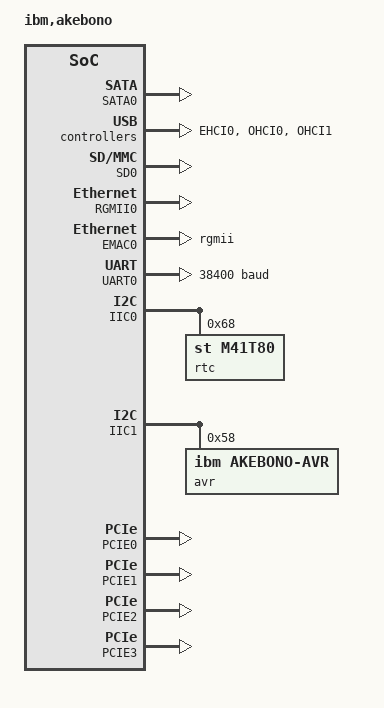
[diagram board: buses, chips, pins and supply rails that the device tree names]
/*
 * Device Tree Source for IBM Embedded PPC 476 Platform
 *
 * Copyright © 2013 Tony Breeds IBM Corporation
 * Copyright © 2013 Alistair Popple IBM Corporation
 *
 * This file is licensed under the terms of the GNU General Public
 * License version 2.  This program is licensed "as is" without
 * any warranty of any kind, whether express or implied.
 */

/dts-v1/;

/memreserve/ 0x01f00000 0x00100000;	// spin table

/ {
	#address-cells = <2>;
	#size-cells = <2>;
	model = "ibm,akebono";
	compatible = "ibm,akebono", "ibm,476gtr";
	dcr-parent = <&{/cpus/cpu@0}>;

	aliases {
		serial0 = &UART0;
	};

	cpus {
		#address-cells = <1>;
		#size-cells = <0>;

		cpu@0 {
			device_type = "cpu";
			model = "PowerPC,476";
			reg = <0>;
			clock-frequency = <1600000000>; // 1.6 GHz
			timebase-frequency = <100000000>; // 100Mhz
			i-cache-line-size = <32>;
			d-cache-line-size = <32>;
			i-cache-size = <32768>;
			d-cache-size = <32768>;
			dcr-controller;
			dcr-access-method = "native";
			status = "okay";
		};
		cpu@1 {
			device_type = "cpu";
			model = "PowerPC,476";
			reg = <1>;
			clock-frequency = <1600000000>; // 1.6 GHz
			timebase-frequency = <100000000>; // 100Mhz
			i-cache-line-size = <32>;
			d-cache-line-size = <32>;
			i-cache-size = <32768>;
			d-cache-size = <32768>;
			dcr-controller;
			dcr-access-method = "native";
			status = "disabled";
			enable-method = "spin-table";
			cpu-release-addr = <0x0 0x01f00000>;
		};
	};

	memory {
		device_type = "memory";
		reg = <0x0 0x0 0x0 0x0>; // filled in by zImage
	};

	MPIC: interrupt-controller {
		compatible = "chrp,open-pic";
		interrupt-controller;
		dcr-reg = <0xffc00000 0x00040000>;
		#address-cells = <0>;
		#size-cells = <0>;
		#interrupt-cells = <2>;
		single-cpu-affinity;
	};

	plb {
		compatible = "ibm,plb6";
		#address-cells = <2>;
		#size-cells = <2>;
		ranges;
		clock-frequency = <200000000>; // 200Mhz

		HSTA0: hsta@310000e0000 {
			compatible = "ibm,476gtr-hsta-msi", "ibm,hsta-msi";
			reg = <0x310 0x000e0000 0x0 0xf0>;
			interrupt-parent = <&MPIC>;
			interrupts = <108 0
				      109 0
				      110 0
				      111 0
				      112 0
				      113 0
				      114 0
				      115 0
				      116 0
				      117 0
				      118 0
				      119 0
				      120 0
				      121 0
				      122 0
				      123 0>;
		};

		MAL0: mcmal {
			compatible = "ibm,mcmal-476gtr", "ibm,mcmal2";
			dcr-reg = <0xc0000000 0x062>;
			num-tx-chans = <1>;
			num-rx-chans = <1>;
			#address-cells = <0>;
			#size-cells = <0>;
			interrupt-parent = <&MPIC>;
			interrupts = <	/*TXEOB*/ 77 0x4
					/*RXEOB*/ 78 0x4
					/*SERR*/  76 0x4
					/*TXDE*/  79 0x4
					/*RXDE*/  80 0x4>;
		};

		SATA0: sata@30000010000 {
			compatible = "ibm,476gtr-ahci";
			reg = <0x300 0x00010000 0x0 0x10000>;
			interrupt-parent = <&MPIC>;
			interrupts = <93 2>;
		};

		EHCI0: ehci@30010000000 {
			compatible = "ibm,476gtr-ehci", "generic-ehci";
			reg = <0x300 0x10000000 0x0 0x10000>;
			interrupt-parent = <&MPIC>;
			interrupts = <85 2>;
		};

		SD0: sd@30000000000 {
			compatible = "ibm,476gtr-sdhci", "generic-sdhci";
			reg = <0x300 0x00000000 0x0 0x10000>;
			interrupts = <91 2>;
			interrupt-parent = <&MPIC>;
		};

		OHCI0: ohci@30010010000 {
			compatible = "ibm,476gtr-ohci", "generic-ohci";
			reg = <0x300 0x10010000 0x0 0x10000>;
			interrupt-parent = <&MPIC>;
			interrupts = <89 1>;
			};

		OHCI1: ohci@30010020000 {
			compatible = "ibm,476gtr-ohci", "generic-ohci";
			reg = <0x300 0x10020000 0x0 0x10000>;
			interrupt-parent = <&MPIC>;
			interrupts = <88 1>;
			};

		POB0: opb {
			compatible = "ibm,opb-4xx", "ibm,opb";
			#address-cells = <1>;
			#size-cells = <1>;
			/* Wish there was a nicer way of specifying a full
			 * 32-bit range
			 */
			ranges = <0x00000000 0x0000033f 0x00000000 0x80000000
				  0x80000000 0x0000033f 0x80000000 0x80000000>;
			clock-frequency = <100000000>;

			RGMII0: emac-rgmii-wol@50004 {
				compatible = "ibm,rgmii-wol-476gtr", "ibm,rgmii-wol";
				reg = <0x50004 0x00000008>;
				has-mdio;
			};

			EMAC0: ethernet@30000 {
				device_type = "network";
				compatible = "ibm,emac-476gtr", "ibm,emac4sync";
				interrupt-parent = <&EMAC0>;
				interrupts = <0x0 0x1>;
				#interrupt-cells = <1>;
				#address-cells = <0>;
				#size-cells = <0>;
				interrupt-map = </*Status*/ 0x0 &MPIC 81 0x4
						 /*Wake*/   0x1 &MPIC 82 0x4>;
				reg = <0x30000 0x78>;

				/* local-mac-address will normally be added by
				 * the wrapper. If your device doesn't support
				 * passing data to the wrapper (in the form
				 * local-mac-addr=<hwaddr>) then you will need
				 * to set it manually here. */
				//local-mac-address = [000000000000];

				mal-device = <&MAL0>;
				mal-tx-channel = <0>;
				mal-rx-channel = <0>;
				cell-index = <0>;
				max-frame-size = <9000>;
				rx-fifo-size = <4096>;
				tx-fifo-size = <2048>;
				rx-fifo-size-gige = <16384>;
				phy-mode = "rgmii";
				phy-map = <0x00000000>;
				rgmii-wol-device = <&RGMII0>;
				has-inverted-stacr-oc;
				has-new-stacr-staopc;
			};

			UART0: serial@10000 {
				device_type = "serial";
				compatible = "ns16750", "ns16550";
				reg = <0x10000 0x00000008>;
				virtual-reg = <0xe8010000>;
				clock-frequency = <1851851>;
				current-speed = <38400>;
				interrupt-parent = <&MPIC>;
				interrupts = <39 2>;
			};

			IIC0: i2c@0 {
				compatible = "ibm,iic-476gtr", "ibm,iic";
				reg = <0x0 0x00000020>;
				interrupt-parent = <&MPIC>;
				interrupts = <37 2>;
				#address-cells = <1>;
				#size-cells = <0>;
				rtc@68 {
					compatible = "st,m41t80", "m41st85";
					reg = <0x68>;
				};
			};

			IIC1: i2c@100 {
				compatible = "ibm,iic-476gtr", "ibm,iic";
				reg = <0x100 0x00000020>;
				interrupt-parent = <&MPIC>;
				interrupts = <38 2>;
				#address-cells = <1>;
				#size-cells = <0>;
				avr@58 {
					compatible = "ibm,akebono-avr";
					reg = <0x58>;
				};
			};

			FPGA0: fpga@ebc00000 {
				compatible = "ibm,akebono-fpga";
				reg = <0xebc00000 0x8>;
			};
		};

		PCIE0: pciex@10100000000 {
			device_type = "pci";
			#interrupt-cells = <1>;
			#size-cells = <2>;
			#address-cells = <3>;
			compatible = "ibm,plb-pciex-476fpe", "ibm,plb-pciex";
			primary;
			port = <0x0>; /* port number */
			reg = <0x00000101 0x00000000 0x0 0x10000000	       /* Config space access */
			       0x00000100 0x00000000 0x0 0x00001000>;	/* UTL Registers space access */
			dcr-reg = <0xc0 0x20>;

//                                pci_space  < pci_addr          > < cpu_addr          > < size       >
			ranges = <0x02000000 0x00000000 0x80000000 0x00000110 0x80000000 0x0 0x80000000
			          0x01000000 0x0        0x0        0x00000140 0x0        0x0 0x00010000>;

			/* Inbound starting at 0x0 to 0x40000000000. In order to use MSI
			 * PCI devices must be able to write to the HSTA module.
			 */
			dma-ranges = <0x42000000 0x0 0x0 0x0 0x0 0x400 0x0>;

			/* This drives busses 0 to 0xf */
			bus-range = <0x0 0xf>;

			/* Legacy interrupts (note the weird polarity, the bridge seems
			 * to invert PCIe legacy interrupts).
			 * We are de-swizzling here because the numbers are actually for
			 * port of the root complex virtual P2P bridge. But I want
			 * to avoid putting a node for it in the tree, so the numbers
			 * below are basically de-swizzled numbers.
			 * The real slot is on idsel 0, so the swizzling is 1:1
			 */
			interrupt-map-mask = <0x0 0x0 0x0 0x7>;
			interrupt-map = <
				0x0 0x0 0x0 0x1 &MPIC 45 0x2 /* int A */
				0x0 0x0 0x0 0x2 &MPIC 46 0x2 /* int B */
				0x0 0x0 0x0 0x3 &MPIC 47 0x2 /* int C */
				0x0 0x0 0x0 0x4 &MPIC 48 0x2 /* int D */>;
		};

		PCIE1: pciex@20100000000 {
			device_type = "pci";
			#interrupt-cells = <1>;
			#size-cells = <2>;
			#address-cells = <3>;
			compatible = "ibm,plb-pciex-476fpe", "ibm,plb-pciex";
			primary;
			port = <0x1>; /* port number */
			reg = <0x00000201 0x00000000 0x0 0x10000000	       /* Config space access */
			       0x00000200 0x00000000 0x0 0x00001000>;	/* UTL Registers space access */
			dcr-reg = <0x100 0x20>;

//                                pci_space  < pci_addr          > < cpu_addr          > < size       >
			ranges = <0x02000000 0x00000000 0x80000000 0x00000210 0x80000000 0x0 0x80000000
			          0x01000000 0x0        0x0        0x00000240 0x0        0x0 0x00010000>;

			/* Inbound starting at 0x0 to 0x40000000000. In order to use MSI
			 * PCI devices must be able to write to the HSTA module.
			 */
			dma-ranges = <0x42000000 0x0 0x0 0x0 0x0 0x400 0x0>;

			/* This drives busses 0 to 0xf */
			bus-range = <0x0 0xf>;

			/* Legacy interrupts (note the weird polarity, the bridge seems
			 * to invert PCIe legacy interrupts).
			 * We are de-swizzling here because the numbers are actually for
			 * port of the root complex virtual P2P bridge. But I want
			 * to avoid putting a node for it in the tree, so the numbers
			 * below are basically de-swizzled numbers.
			 * The real slot is on idsel 0, so the swizzling is 1:1
			 */
			interrupt-map-mask = <0x0 0x0 0x0 0x7>;
			interrupt-map = <
				0x0 0x0 0x0 0x1 &MPIC 53 0x2 /* int A */
				0x0 0x0 0x0 0x2 &MPIC 54 0x2 /* int B */
				0x0 0x0 0x0 0x3 &MPIC 55 0x2 /* int C */
				0x0 0x0 0x0 0x4 &MPIC 56 0x2 /* int D */>;
		};

		PCIE2: pciex@18100000000 {
			device_type = "pci";
			#interrupt-cells = <1>;
			#size-cells = <2>;
			#address-cells = <3>;
			compatible = "ibm,plb-pciex-476fpe", "ibm,plb-pciex";
			primary;
			port = <0x2>; /* port number */
			reg = <0x00000181 0x00000000 0x0 0x10000000	       /* Config space access */
			       0x00000180 0x00000000 0x0 0x00001000>;	/* UTL Registers space access */
			dcr-reg = <0xe0 0x20>;

//                                pci_space  < pci_addr          > < cpu_addr          > < size       >
			ranges = <0x02000000 0x00000000 0x80000000 0x00000190 0x80000000 0x0 0x80000000
			          0x01000000 0x0        0x0        0x000001c0 0x0        0x0 0x00010000>;

			/* Inbound starting at 0x0 to 0x40000000000. In order to use MSI
			 * PCI devices must be able to write to the HSTA module.
			 */
			dma-ranges = <0x42000000 0x0 0x0 0x0 0x0 0x400 0x0>;

			/* This drives busses 0 to 0xf */
			bus-range = <0x0 0xf>;

			/* Legacy interrupts (note the weird polarity, the bridge seems
			 * to invert PCIe legacy interrupts).
			 * We are de-swizzling here because the numbers are actually for
			 * port of the root complex virtual P2P bridge. But I want
			 * to avoid putting a node for it in the tree, so the numbers
			 * below are basically de-swizzled numbers.
			 * The real slot is on idsel 0, so the swizzling is 1:1
			 */
			interrupt-map-mask = <0x0 0x0 0x0 0x7>;
			interrupt-map = <
				0x0 0x0 0x0 0x1 &MPIC 61 0x2 /* int A */
				0x0 0x0 0x0 0x2 &MPIC 62 0x2 /* int B */
				0x0 0x0 0x0 0x3 &MPIC 63 0x2 /* int C */
				0x0 0x0 0x0 0x4 &MPIC 64 0x2 /* int D */>;
		};

		PCIE3: pciex@28100000000 {
			device_type = "pci";
			#interrupt-cells = <1>;
			#size-cells = <2>;
			#address-cells = <3>;
			compatible = "ibm,plb-pciex-476fpe", "ibm,plb-pciex";
			primary;
			port = <0x3>; /* port number */
			reg = <0x00000281 0x00000000 0x0 0x10000000	       /* Config space access */
			       0x00000280 0x00000000 0x0 0x00001000>;	/* UTL Registers space access */
			dcr-reg = <0x120 0x20>;

//                                pci_space  < pci_addr          > < cpu_addr          > < size       >
			ranges = <0x02000000 0x00000000 0x80000000 0x00000290 0x80000000 0x0 0x80000000
			          0x01000000 0x0        0x0        0x000002c0 0x0        0x0 0x00010000>;

			/* Inbound starting at 0x0 to 0x40000000000. In order to use MSI
			 * PCI devices must be able to write to the HSTA module.
			 */
			dma-ranges = <0x42000000 0x0 0x0 0x0 0x0 0x400 0x0>;

			/* This drives busses 0 to 0xf */
			bus-range = <0x0 0xf>;

			/* Legacy interrupts (note the weird polarity, the bridge seems
			 * to invert PCIe legacy interrupts).
			 * We are de-swizzling here because the numbers are actually for
			 * port of the root complex virtual P2P bridge. But I want
			 * to avoid putting a node for it in the tree, so the numbers
			 * below are basically de-swizzled numbers.
			 * The real slot is on idsel 0, so the swizzling is 1:1
			 */
			interrupt-map-mask = <0x0 0x0 0x0 0x7>;
			interrupt-map = <
				0x0 0x0 0x0 0x1 &MPIC 69 0x2 /* int A */
				0x0 0x0 0x0 0x2 &MPIC 70 0x2 /* int B */
				0x0 0x0 0x0 0x3 &MPIC 71 0x2 /* int C */
				0x0 0x0 0x0 0x4 &MPIC 72 0x2 /* int D */>;
		};
	};

	chosen {
		stdout-path = &UART0;
	};
};
